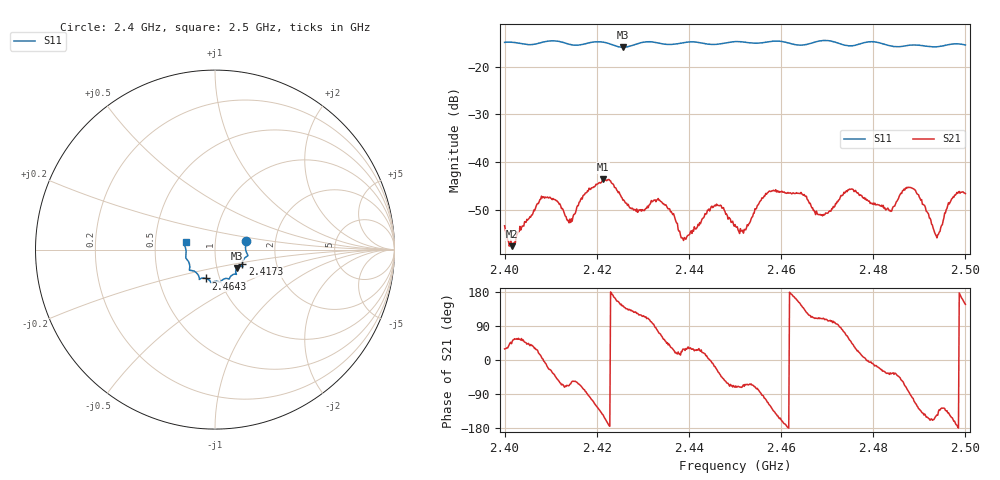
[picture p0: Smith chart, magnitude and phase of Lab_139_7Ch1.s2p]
# Hz S RI R 50
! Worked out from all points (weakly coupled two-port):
!   601 points, 2.4 GHz to 2.5 GHz, reference 50 ohm
!   highest |S21| = -43.65 dB at 2.4213 GHz (marker M1); lowest = -57.6 dB at 2.4017 GHz (marker M2)
!   lowest |S11| = -15.9 dB at 2.4257 GHz (marker M3), VSWR 1.38, Z = 62.5 - j13.1 ohm
!   |S11| at or under -10 dB: start of sweep to end of sweep
!   S12 and S22 are empty: the file has one direction only
!   S11 on the Smith chart (normalised r, x): 2.4 GHz: 1.41, +0.14; 2.4173 GHz: 1.34, -0.23; 2.4643 GHz: 0.86, -0.28; 2.5 GHz: 0.72, +0.06
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2.4e9  0.173 0.0496  0.00187 0.00105  0 0  0 0
2.401667e9  0.1751 0.0432  0.000851 0.000999  0 0  0 0
2.408e9  0.178 -0.021  0.00435 0.000601  0 0  0 0
2.414167e9  0.1643 -0.0478  0.00111 -0.00227  0 0  0 0
2.416667e9  0.1529 -0.0747  0.00145 -0.00394  0 0  0 0
2.417333e9  0.1523 -0.0821  0.000904 -0.00446  0 0  0 0
2.421333e9  0.1538 -0.0955  -0.00532 -0.00386  0 0  0 0
2.425667e9  0.1227 -0.1024  -0.0032 0.00238  0 0  0 0
2.433333e9  0.1125 -0.1367  0.0011 0.004  0 0  0 0
2.438833e9  0.0813 -0.1588  0.00132 0.000724  0 0  0 0
2.445833e9  0.0487 -0.1644  0.00323 -0.00125  0 0  0 0
2.45e9  0.0297 -0.1808  0.000682 -0.00211  0 0  0 0
2.452e9  0.023 -0.1795  0.000688 -0.00184  0 0  0 0
2.4575e9  -0.0162 -0.1823  -0.00242 -0.00434  0 0  0 0
2.464333e9  -0.0503 -0.1605  -0.00391 0.0028  0 0  0 0
2.466667e9  -0.0762 -0.1599  -0.00139 0.00301  0 0  0 0
2.475167e9  -0.1085 -0.1251  0.00343 0.0039  0 0  0 0
2.483333e9  -0.1408 -0.0895  0.00261 -0.00182  0 0  0 0
2.4885e9  -0.1618 -0.0485  -0.000905 -0.00524  0 0  0 0
2.493833e9  -0.162 -0.00334  -0.00131 -0.000925  0 0  0 0
2.496833e9  -0.17 0.0256  -0.00335 -0.00201  0 0  0 0
2.5e9  -0.1635 0.042  -0.00391 0.00255  0 0  0 0
